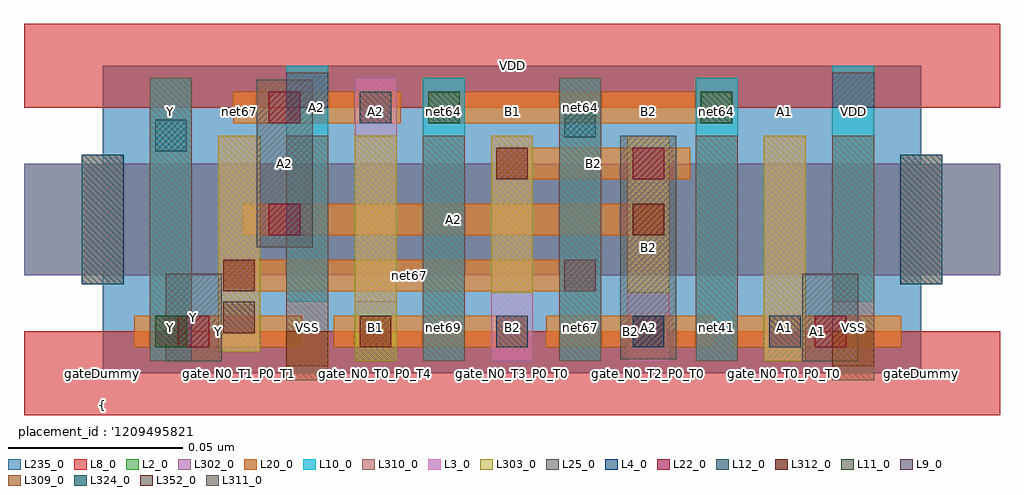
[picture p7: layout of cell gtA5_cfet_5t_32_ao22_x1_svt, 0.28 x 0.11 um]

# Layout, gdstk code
import gdstk
lib = gdstk.Library(unit=1e-6, precision=2.5e-10)
def R(c, l, rs):  # rectangles x0, y0, x1, y1
    for r in rs: c.add(gdstk.rectangle(r[:2], r[2:], *l))
def A(c, l, x, y, w, h, nx, ny, dx, dy):  # array of equal rectangles
    R(c, l, [(x+i*dx, y+j*dy, x+i*dx+w, y+j*dy+h) for i in range(nx) for j in range(ny)])
L2_0 = (2, 0)
L3_0 = (3, 0)
L4_0 = (4, 0)
L8_0 = (8, 0)
L9_0 = (9, 0)
L10_0 = (10, 0)
L11_0 = (11, 0)
L12_0 = (12, 0)
L20_0 = (20, 0)
L22_0 = (22, 0)
L25_0 = (25, 0)
L235_0 = (235, 0)
L302_0 = (302, 0)
L303_0 = (303, 0)
L309_0 = (309, 0)
L310_0 = (310, 0)
L311_0 = (311, 0)
L312_0 = (312, 0)
L324_0 = (324, 0)
L352_0 = (352, 0)

gta5_cfet_5t_32_ao22_x1_ = lib.new_cell('gtA5_cfet_5t_32_ao22_x1_svt')
R(gta5_cfet_5t_32_ao22_x1_, L2_0, [(-0.0225,0.028,0.2565,0.06)])
A(gta5_cfet_5t_32_ao22_x1_, L3_0, 0.111, 0.0035, 0.012, 0.0645, 3, 1, 0.039, 0)
R(gta5_cfet_5t_32_ao22_x1_, L3_0, [(0.033,0.006,0.045,0.068), (0.072,0.0205,0.084,0.0845), (-0.006,0.0255,0.006,0.0625), (0.228,0.0255,0.24,0.0625)])
R(gta5_cfet_5t_32_ao22_x1_, L4_0, [(-0.006,0.0255,0.006,0.0625), (0.228,0.0255,0.24,0.0625)])
R(gta5_cfet_5t_32_ao22_x1_, L8_0, [(-0.0225,-0.012,0.2565,0.012), (-0.0225,0.076,0.2565,0.1)])
R(gta5_cfet_5t_32_ao22_x1_, L9_0, [(0.0525,0.076,0.0645,0.086), (0.2085,0.076,0.2205,0.086)])
A(gta5_cfet_5t_32_ao22_x1_, L10_0, 0.0915, 0.0035, 0.012, 0.081, 3, 1, 0.039, 0)
R(gta5_cfet_5t_32_ao22_x1_, L10_0, [(0.0135,0.0035,0.0255,0.0845), (0.0525,0.0205,0.0645,0.088), (0.2085,0.0205,0.2205,0.088)])
R(gta5_cfet_5t_32_ao22_x1_, L11_0, [(0.015,0.0075,0.024,0.0165), (0.093,0.0715,0.102,0.0805), (0.171,0.0715,0.18,0.0805)])
A(gta5_cfet_5t_32_ao22_x1_, L12_0, 0.1125, 0.0075, 0.009, 0.009, 3, 1, 0.039, 0)
R(gta5_cfet_5t_32_ao22_x1_, L12_0, [(0.0735,0.0715,0.0825,0.0805)])
R(gta5_cfet_5t_32_ao22_x1_, L20_0, [(0.009,0.0075,0.057,0.0165), (0.066,0.0075,0.1215,0.0165), (0.1268,0.0075,0.1748,0.0165), (0.1802,0.0075,0.2283,0.0165), (0.0345,0.0235,0.141,0.0325), (0.04,0.0395,0.1605,0.0485), (0.1125,0.0555,0.168,0.0645), (0.0372,0.0715,0.0853,0.0805), (0.093,0.0715,0.18,0.0805)])
R(gta5_cfet_5t_32_ao22_x1_, L22_0, [(0.0215,0.0075,0.0305,0.0165), (0.1515,0.0075,0.1605,0.0165), (0.2035,0.0075,0.2125,0.0165), (0.0475,0.0395,0.0565,0.0485), (0.1515,0.0555,0.1605,0.0645), (0.0475,0.0715,0.0565,0.0805)])
R(gta5_cfet_5t_32_ao22_x1_, L25_0, [(0.018,0.0035,0.034,0.0285), (0.2,0.0035,0.216,0.0285), (0.148,0.004,0.164,0.068), (0.044,0.036,0.06,0.084)])
R(gta5_cfet_5t_32_ao22_x1_, L235_0, [(0,0,0.234,0.088)])
R(gta5_cfet_5t_32_ao22_x1_, L302_0, [(-0.0225,0.028,0.2565,0.06)])
R(gta5_cfet_5t_32_ao22_x1_, L303_0, [(0.072,0.0035,0.084,0.068), (0.189,0.0035,0.201,0.068), (0.033,0.006,0.045,0.068), (0.111,0.023,0.123,0.068), (0.15,0.023,0.162,0.068), (-0.006,0.0255,0.006,0.0625), (0.228,0.0255,0.24,0.0625)])
R(gta5_cfet_5t_32_ao22_x1_, L309_0, [(0.0525,0.002,0.0645,0.012), (0.2085,0.002,0.2205,0.012)])
R(gta5_cfet_5t_32_ao22_x1_, L310_0, [(0.0525,-0.002,0.0645,0.068), (0.2085,-0.002,0.2205,0.068), (0.0135,0.0035,0.0255,0.0845), (0.0915,0.0035,0.1035,0.068), (0.1305,0.0035,0.1425,0.0845), (0.1695,0.0035,0.1815,0.068)])
R(gta5_cfet_5t_32_ao22_x1_, L311_0, [(0.132,0.0235,0.141,0.0325)])
R(gta5_cfet_5t_32_ao22_x1_, L312_0, [(0.0735,0.0075,0.0825,0.0165), (0.0345,0.0235,0.0435,0.0325), (0.1515,0.0395,0.1605,0.0485), (0.1125,0.0555,0.1215,0.0645)])
R(gta5_cfet_5t_32_ao22_x1_, L324_0, [(0.015,0.0635,0.024,0.0725), (0.132,0.0675,0.141,0.0765)])
R(gta5_cfet_5t_32_ao22_x1_, L352_0, [(0.0345,0.0115,0.0435,0.0205)])
gta5_cfet_5t_32_ao22_x1_.add(gdstk.Label('Y', (0.033,0.012), layer=100, texttype=100))
gta5_cfet_5t_32_ao22_x1_.add(gdstk.Label('B2', (0.1507,0.012), layer=100, texttype=100))
gta5_cfet_5t_32_ao22_x1_.add(gdstk.Label('A1', (0.2043,0.012), layer=100, texttype=100))
gta5_cfet_5t_32_ao22_x1_.add(gdstk.Label('net67', (0.0878,0.028), layer=100, texttype=100))
gta5_cfet_5t_32_ao22_x1_.add(gdstk.Label('A2', (0.1003,0.044), layer=100, texttype=100))
gta5_cfet_5t_32_ao22_x1_.add(gdstk.Label('B2', (0.1403,0.06), layer=100, texttype=100))
gta5_cfet_5t_32_ao22_x1_.add(gdstk.Label('A2', (0.0612,0.076), layer=100, texttype=100))
gta5_cfet_5t_32_ao22_x1_.add(gdstk.Label('net64', (0.1365,0.076), layer=100, texttype=100))
gta5_cfet_5t_32_ao22_x1_.add(gdstk.Label('gateDummy', (0,0), layer=103, texttype=103))
gta5_cfet_5t_32_ao22_x1_.add(gdstk.Label('sd_N0_T0_P0_T0', (0.0195,0), layer=103, texttype=103))
gta5_cfet_5t_32_ao22_x1_.add(gdstk.Label('gate_N0_T1_P0_T1', (0.039,0), layer=103, texttype=103))
gta5_cfet_5t_32_ao22_x1_.add(gdstk.Label('sd_N0_VSS_P0_VDD', (0.0585,0), layer=103, texttype=103))
gta5_cfet_5t_32_ao22_x1_.add(gdstk.Label('gate_N0_T0_P0_T4', (0.078,0), layer=103, texttype=103))
gta5_cfet_5t_32_ao22_x1_.add(gdstk.Label('sd_N0_abut_P0_T4', (0.0975,0), layer=103, texttype=103))
gta5_cfet_5t_32_ao22_x1_.add(gdstk.Label('gate_N0_T3_P0_T0', (0.117,0), layer=103, texttype=103))
gta5_cfet_5t_32_ao22_x1_.add(gdstk.Label('sd_N0_T1_P0_T1', (0.1365,0), layer=103, texttype=103))
gta5_cfet_5t_32_ao22_x1_.add(gdstk.Label('gate_N0_T2_P0_T0', (0.156,0), layer=103, texttype=103))
gta5_cfet_5t_32_ao22_x1_.add(gdstk.Label('sd_N0_abut_P0_T4', (0.1755,0), layer=103, texttype=103))
gta5_cfet_5t_32_ao22_x1_.add(gdstk.Label('gate_N0_T0_P0_T0', (0.195,0), layer=103, texttype=103))
gta5_cfet_5t_32_ao22_x1_.add(gdstk.Label('sd_N0_VSS_P0_VDD', (0.2145,0), layer=103, texttype=103))
gta5_cfet_5t_32_ao22_x1_.add(gdstk.Label('gateDummy', (0.234,0), layer=103, texttype=103))
gta5_cfet_5t_32_ao22_x1_.add(gdstk.Label('}', (0,-0.0963), layer=104, texttype=104))
gta5_cfet_5t_32_ao22_x1_.add(gdstk.Label('  power : None', (0,-0.0875), layer=104, texttype=104))
gta5_cfet_5t_32_ao22_x1_.add(gdstk.Label('  performance : None', (0,-0.0788), layer=104, texttype=104))
gta5_cfet_5t_32_ao22_x1_.add(gdstk.Label("  solution_hash : '12729504676720769901'", (0,-0.07), layer=104, texttype=104))
gta5_cfet_5t_32_ao22_x1_.add(gdstk.Label('  number_m2 : 0', (0,-0.0612), layer=104, texttype=104))
gta5_cfet_5t_32_ao22_x1_.add(gdstk.Label('  number_m1 : 4', (0,-0.0525), layer=104, texttype=104))
gta5_cfet_5t_32_ao22_x1_.add(gdstk.Label('  number_m0cuts : 0', (0,-0.0438), layer=104, texttype=104))
gta5_cfet_5t_32_ao22_x1_.add(gdstk.Label('  number_m0 : 9', (0,-0.035), layer=104, texttype=104))
gta5_cfet_5t_32_ao22_x1_.add(gdstk.Label("  solution_number : '0000'", (0,-0.0262), layer=104, texttype=104))
gta5_cfet_5t_32_ao22_x1_.add(gdstk.Label("  placement_id : '12094958215532945085'", (0,-0.0175), layer=104, texttype=104))
gta5_cfet_5t_32_ao22_x1_.add(gdstk.Label('{', (0,-0.0088), layer=104, texttype=104))
gta5_cfet_5t_32_ao22_x1_.add(gdstk.Label('Y', (0.0195,0.0132), layer=105, texttype=105))
gta5_cfet_5t_32_ao22_x1_.add(gdstk.Label('net67', (0.039,0.0132), layer=105, texttype=105))
gta5_cfet_5t_32_ao22_x1_.add(gdstk.Label('VSS', (0.0585,0.0132), layer=105, texttype=105))
gta5_cfet_5t_32_ao22_x1_.add(gdstk.Label('B1', (0.078,0.0132), layer=105, texttype=105))
gta5_cfet_5t_32_ao22_x1_.add(gdstk.Label('net69', (0.0975,0.0132), layer=105, texttype=105))
gta5_cfet_5t_32_ao22_x1_.add(gdstk.Label('B2', (0.117,0.0132), layer=105, texttype=105))
gta5_cfet_5t_32_ao22_x1_.add(gdstk.Label('net67', (0.1365,0.0132), layer=105, texttype=105))
gta5_cfet_5t_32_ao22_x1_.add(gdstk.Label('A2', (0.156,0.0132), layer=105, texttype=105))
gta5_cfet_5t_32_ao22_x1_.add(gdstk.Label('net41', (0.1755,0.0132), layer=105, texttype=105))
gta5_cfet_5t_32_ao22_x1_.add(gdstk.Label('A1', (0.195,0.0132), layer=105, texttype=105))
gta5_cfet_5t_32_ao22_x1_.add(gdstk.Label('VSS', (0.2145,0.0132), layer=105, texttype=105))
gta5_cfet_5t_32_ao22_x1_.add(gdstk.Label('Y', (0.0195,0.0747), layer=105, texttype=105))
gta5_cfet_5t_32_ao22_x1_.add(gdstk.Label('net67', (0.039,0.0747), layer=105, texttype=105))
gta5_cfet_5t_32_ao22_x1_.add(gdstk.Label('VDD', (0.0585,0.0747), layer=105, texttype=105))
gta5_cfet_5t_32_ao22_x1_.add(gdstk.Label('A2', (0.078,0.0747), layer=105, texttype=105))
gta5_cfet_5t_32_ao22_x1_.add(gdstk.Label('net64', (0.0975,0.0747), layer=105, texttype=105))
gta5_cfet_5t_32_ao22_x1_.add(gdstk.Label('B1', (0.117,0.0747), layer=105, texttype=105))
gta5_cfet_5t_32_ao22_x1_.add(gdstk.Label('net67', (0.1365,0.0747), layer=105, texttype=105))
gta5_cfet_5t_32_ao22_x1_.add(gdstk.Label('B2', (0.156,0.0747), layer=105, texttype=105))
gta5_cfet_5t_32_ao22_x1_.add(gdstk.Label('net64', (0.1755,0.0747), layer=105, texttype=105))
gta5_cfet_5t_32_ao22_x1_.add(gdstk.Label('A1', (0.195,0.0747), layer=105, texttype=105))
gta5_cfet_5t_32_ao22_x1_.add(gdstk.Label('VDD', (0.2145,0.0747), layer=105, texttype=105))
gta5_cfet_5t_32_ao22_x1_.add(gdstk.Label('VSS', (0.117,0), layer=8, texttype=0))
gta5_cfet_5t_32_ao22_x1_.add(gdstk.Label('VDD', (0.117,0.088), layer=8, texttype=0))
gta5_cfet_5t_32_ao22_x1_.add(gdstk.Label('B1', (0.0938,0.012), layer=20, texttype=251))
gta5_cfet_5t_32_ao22_x1_.add(gdstk.Label('Y', (0.026,0.016), layer=25, texttype=0))
gta5_cfet_5t_32_ao22_x1_.add(gdstk.Label('A1', (0.208,0.016), layer=25, texttype=0))
gta5_cfet_5t_32_ao22_x1_.add(gdstk.Label('B2', (0.156,0.036), layer=25, texttype=0))
gta5_cfet_5t_32_ao22_x1_.add(gdstk.Label('A2', (0.052,0.06), layer=25, texttype=0))
gta5_cfet_5t_32_ao22_x1_.add(gdstk.Label('gtA5_cfet_5t_32_ao22_x1_rvt_0', (0,0), layer=235, texttype=0))

lib.write_gds('gtA5_cfet_5t_32_ao22_x1_svt.gds')
